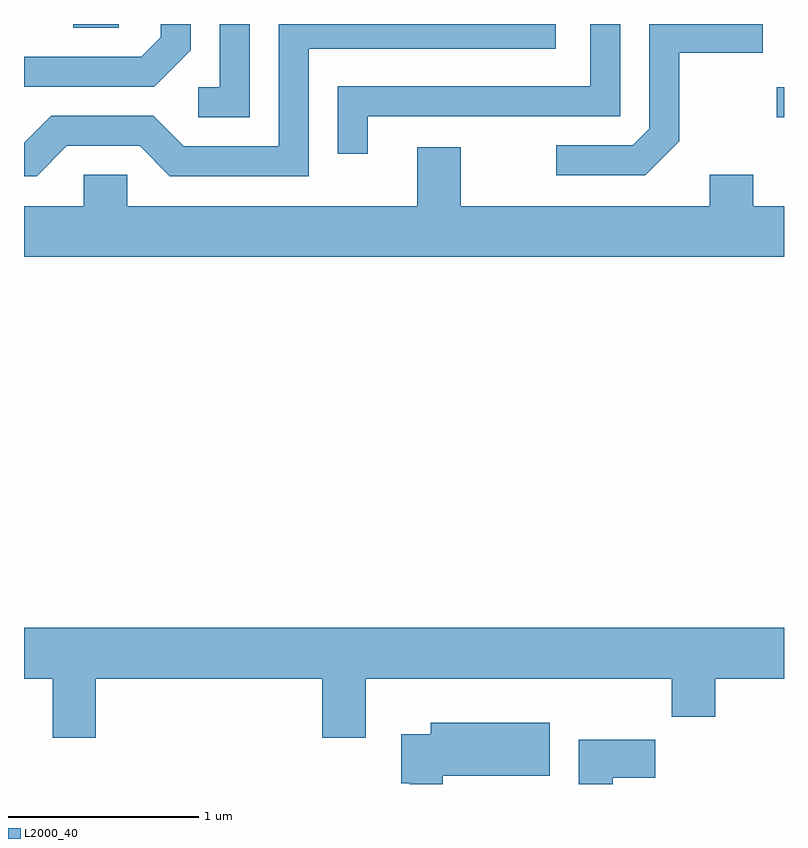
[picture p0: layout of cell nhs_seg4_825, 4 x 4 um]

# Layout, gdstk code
import gdstk
lib = gdstk.Library(unit=1e-6, precision=1e-09)
def R(c, l, rs):  # rectangles x0, y0, x1, y1
    for r in rs: c.add(gdstk.rectangle(r[:2], r[2:], *l))
def P(c, l, *ps):  # polygons
    for p in ps: c.add(gdstk.Polygon(p, *l))
L2000_40 = (2000, 40)

nhs_seg4_825 = lib.new_cell('nhs_seg4_825')
R(nhs_seg4_825, L2000_40, [(213.573,1275.491,213.611,1275.649), (209.871,1275.961,210.109,1275.982)])
P(nhs_seg4_825, L2000_40, [(210.489,1275.844),(210.489,1275.982),(210.331,1275.982),(210.331,1275.912),(210.229,1275.809),(209.611,1275.809),(209.611,1275.651),(210.297,1275.651)],
  [(211.419,1275.496),(212.749,1275.496),(212.749,1275.982),(212.591,1275.982),(212.591,1275.654),(211.261,1275.654),(211.261,1275.298),(211.419,1275.298)],
  [(210.799,1275.982),(210.641,1275.982),(210.641,1275.649),(210.528,1275.649),(210.528,1275.491),(210.799,1275.491)],
  [(213.059,1275.364),(213.059,1275.831),(213.499,1275.831),(213.499,1275.982),(212.901,1275.982),(212.901,1275.432),(212.814,1275.344),(212.413,1275.344),(212.413,1275.186),(212.882,1275.186)],
  [(209.837,1275.341),(210.219,1275.341),(210.379,1275.181),(211.109,1275.181),(211.109,1275.851),(212.409,1275.851),(212.409,1275.982),(210.951,1275.982),(210.951,1275.339),(210.452,1275.339),(210.292,1275.499),(209.754,1275.499),(209.611,1275.356),(209.611,1275.181),(209.677,1275.181)],
  [(213.611,1275.024),(213.449,1275.024),(213.449,1275.189),(213.221,1275.189),(213.221,1275.024),(211.909,1275.024),(211.909,1275.334),(211.681,1275.334),(211.681,1275.024),(210.154,1275.024),(210.154,1275.189),(209.926,1275.189),(209.926,1275.024),(209.611,1275.024),(209.611,1274.756),(213.611,1274.756)],
  [(209.989,1272.536),(211.181,1272.536),(211.181,1272.226),(211.409,1272.226),(211.409,1272.536),(213.021,1272.536),(213.021,1272.336),(213.249,1272.336),(213.249,1272.536),(213.611,1272.536),(213.611,1272.804),(209.611,1272.804),(209.611,1272.536),(209.761,1272.536),(209.761,1272.226),(209.989,1272.226)],
  [(211.814,1272.026),(212.379,1272.026),(212.379,1272.304),(211.751,1272.304),(211.751,1272.244),(211.596,1272.244),(211.596,1271.986),(211.641,1271.986),(211.641,1271.982),(211.814,1271.982)],
  [(212.709,1272.016),(212.934,1272.016),(212.934,1272.214),(212.531,1272.214),(212.531,1271.982),(212.709,1271.982)])

lib.write_gds('nhs_seg4_825.gds')
